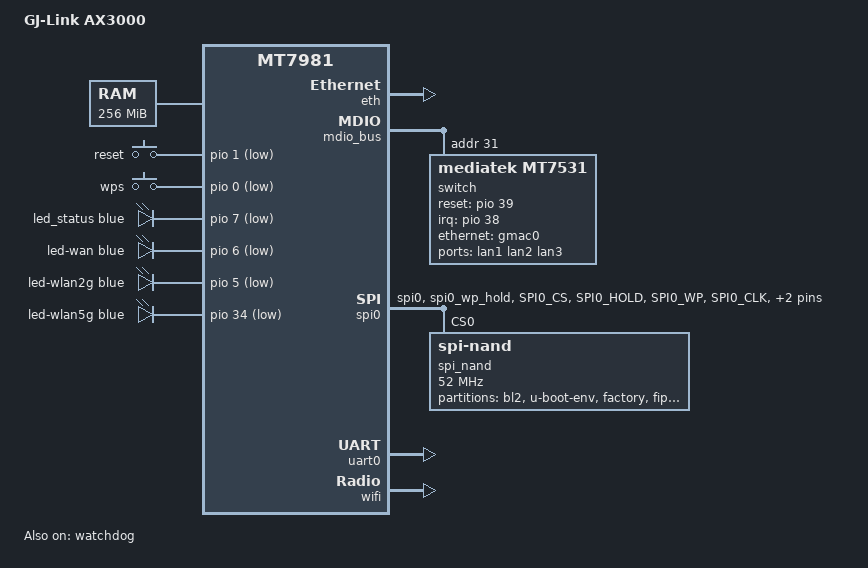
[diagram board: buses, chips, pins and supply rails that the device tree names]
// SPDX-License-Identifier: GPL-2.0-only OR MIT

/dts-v1/;
#include <dt-bindings/gpio/gpio.h>
#include <dt-bindings/input/input.h>
#include <dt-bindings/leds/common.h>

#include "mt7981.dtsi"

/ {
	model = "GJ-Link AX3000";
	compatible = "gj-link,ax3000", "mediatek,mt7981";

	aliases {
		label-mac-device = &wan;

		led-boot = &led_status;
		led-failsafe = &led_status;
		led-running = &led_status;
		led-upgrade = &led_status;

		serial0 = &uart0;
	};

	chosen {
		stdout-path = "serial0:115200n8";
	};

	memory {
		reg = <0 0x40000000 0 0x10000000>;
	};

	gpio-keys {
		compatible = "gpio-keys";

		button-reset {
			label = "reset";
			linux,code = <KEY_RESTART>;
			gpios = <&pio 1 GPIO_ACTIVE_LOW>;
			debounce-interval = <60>;
		};

		button-wps {
			label = "wps";
			linux,code = <KEY_WPS_BUTTON>;
			gpios = <&pio 0 GPIO_ACTIVE_LOW>;
			debounce-interval = <60>;
		};
	};

	leds {
		compatible = "gpio-leds";

		led_status: led-0 {
			color = <LED_COLOR_ID_BLUE>;
			function = LED_FUNCTION_STATUS;
			gpios = <&pio 7 GPIO_ACTIVE_LOW>;
		};

		led-wan {
			color = <LED_COLOR_ID_BLUE>;
			function = LED_FUNCTION_WAN;
			gpios = <&pio 6 GPIO_ACTIVE_LOW>;
		};

		led-wlan2g {
			color = <LED_COLOR_ID_BLUE>;
			function = LED_FUNCTION_WLAN;
			function-enumerator = <24>;
			gpios = <&pio 5 GPIO_ACTIVE_LOW>;
			linux,default-trigger = "phy0tpt";
		};

		led-wlan5g {
			color = <LED_COLOR_ID_BLUE>;
			function = LED_FUNCTION_WLAN;
			function-enumerator = <50>;
			gpios = <&pio 34 GPIO_ACTIVE_LOW>;
			linux,default-trigger = "phy1tpt";
		};
	};
};

&eth {
	status = "okay";

	gmac0: mac@0 {
		compatible = "mediatek,eth-mac";
		reg = <0>;
		phy-mode = "2500base-x";

		nvmem-cell-names = "mac-address";
		nvmem-cells = <&macaddr_factory_4 0>;

		fixed-link {
			speed = <2500>;
			full-duplex;
			pause;
		};
	};

	gmac1: mac@1 {
		compatible = "mediatek,eth-mac";
		reg = <1>;
		phy-mode = "gmii";
		phy-handle = <&int_gbe_phy>;
		label = "wan";

		nvmem-cell-names = "mac-address";
		nvmem-cells = <&macaddr_factory_a 0>;
	};
};

&mdio_bus {
	switch: switch@1f {
		compatible = "mediatek,mt7531";
		reg = <0x1f>;
		reset-gpios = <&pio 39 GPIO_ACTIVE_HIGH>;
		interrupt-controller;
		#interrupt-cells = <1>;
		interrupt-parent = <&pio>;
		interrupts = <38 IRQ_TYPE_LEVEL_HIGH>;
	};
};

&spi0 {
	pinctrl-names = "default";
	pinctrl-0 = <&spi0_flash_pins>;
	status = "okay";

	/* 128MB SPI NAND (ESMT F50L1G41LB or compatible) */
	spi_nand@0 {
		#address-cells = <1>;
		#size-cells = <1>;
		compatible = "spi-nand";
		reg = <0>;

		spi-max-frequency = <52000000>;
		spi-tx-buswidth = <4>;
		spi-rx-buswidth = <4>;

		spi-cal-enable;
		spi-cal-mode = "read-data";
		spi-cal-datalen = <7>;
		spi-cal-data = /bits/ 8 <0x53 0x50 0x49 0x4e 0x41 0x4e 0x44>;
		spi-cal-addrlen = <5>;
		spi-cal-addr = /bits/ 32 <0x0 0x0 0x0 0x0 0x0>;

		mediatek,nmbm;
		mediatek,bmt-max-ratio = <1>;
		mediatek,bmt-max-reserved-blocks = <64>;

		partitions {
			compatible = "fixed-partitions";
			#address-cells = <1>;
			#size-cells = <1>;

			partition@0 {
				label = "bl2";
				reg = <0x0000000 0x0100000>;
				read-only;
			};

			partition@100000 {
				label = "u-boot-env";
				reg = <0x0100000 0x0080000>;
			};

			factory: partition@180000 {
				label = "factory";
				reg = <0x0180000 0x0200000>;
				read-only;

				nvmem-layout {
					compatible = "fixed-layout";
					#address-cells = <1>;
					#size-cells = <1>;

					eeprom_factory_0: eeprom@0 {
						reg = <0x0 0x1000>;
					};

					/* LAN/WAN MAC addresses */
					macaddr_factory_4: macaddr@4 {
						compatible = "mac-base";
						reg = <0x4 0x6>;
						#nvmem-cell-cells = <1>;
					};

					macaddr_factory_a: macaddr@a {
						compatible = "mac-base";
						reg = <0xa 0x6>;
						#nvmem-cell-cells = <1>;
					};
				};
			};

			partition@380000 {
				label = "fip";
				reg = <0x0380000 0x0200000>;
				read-only;
			};

			partition@580000 {
				label = "ubi";
				reg = <0x0580000 0x7000000>;
			};
		};
	};
};

&switch {
	ports {
		#address-cells = <1>;
		#size-cells = <0>;

		port@0 {
			reg = <0>;
			label = "lan1";
		};

		port@1 {
			reg = <1>;
			label = "lan2";
		};

		port@2 {
			reg = <2>;
			label = "lan3";
		};

		port@6 {
			reg = <6>;
			ethernet = <&gmac0>;
			phy-mode = "2500base-x";

			fixed-link {
				speed = <2500>;
				full-duplex;
				pause;
			};
		};
	};
};

&pio {
	spi0_flash_pins: spi0-pins {
		mux {
			function = "spi";
			groups = "spi0", "spi0_wp_hold";
		};

		conf-pu {
			pins = "SPI0_CS", "SPI0_HOLD", "SPI0_WP";
			drive-strength = <MTK_DRIVE_8mA>;
			bias-pull-up = <MTK_PUPD_SET_R1R0_11>;
		};

		conf-pd {
			pins = "SPI0_CLK", "SPI0_MOSI", "SPI0_MISO";
			drive-strength = <MTK_DRIVE_8mA>;
			bias-pull-down = <MTK_PUPD_SET_R1R0_11>;
		};
	};
};

&uart0 {
	status = "okay";
};

&watchdog {
	status = "okay";
};

&wifi {
	status = "okay";

	nvmem-cell-names = "eeprom";
	nvmem-cells = <&eeprom_factory_0>;
};

&usb_phy {
	status = "disabled";
};

&xhci {
	status = "disabled";
};
